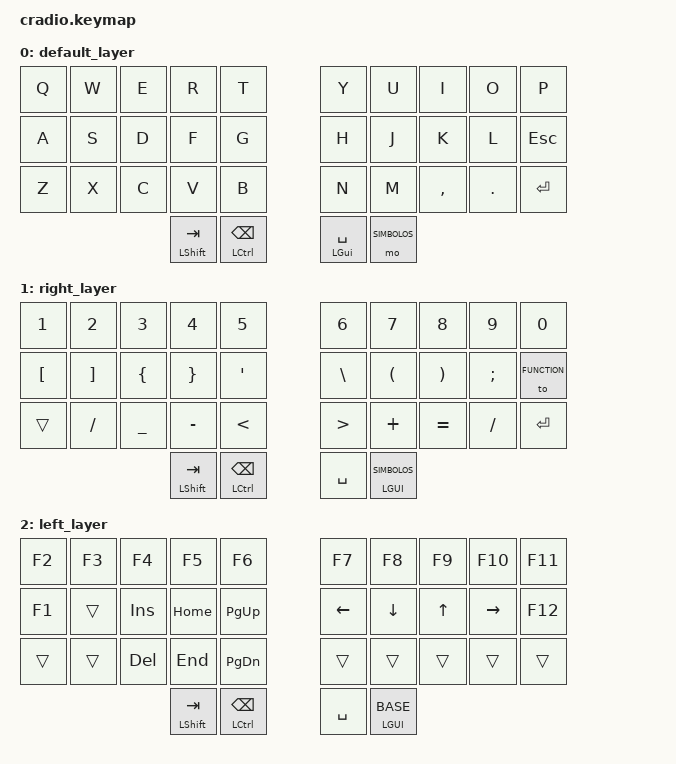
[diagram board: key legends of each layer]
// Copyright (c) 2022 The ZMK Contributors
// SPDX-License-Identifier: MIT

#include <behaviors.dtsi>
#include <dt-bindings/zmk/keys.h>
#include <dt-bindings/zmk/bt.h>

// Home row mods macro

#define BASE 0
#define SIMBOLOS 1
#define FUNCTION 2

/ {
    behaviors {
        ht: hold_tap {
            compatible = "zmk,behavior-hold-tap";
            #binding-cells = <2>;
            flavor = "tap-preferred";
            tapping-term-ms = <220>;
            quick-tap-ms = <150>;
            require-prior-idle-ms = <100>;
            bindings = <&kp>, <&kp>;
        };
    };

    conditional_layers {
        compatible = "zmk,conditional-layers";
        tri_layer {
            if-layers = <1 2>;
            then-layer = <3>;
        };
    };

    keymap {
        compatible = "zmk,keymap";
        default_layer {
            bindings = <
        //╭──────────┬──────────┬──────────┬──────────┬──────────╮   ╭──────────┬──────────┬──────────┬──────────┬──────────╮
        //│  Q       │  W       │  E       │  R       │  T       │   │  Y       │  U       │  I       │  O       │  P       │
            &kp Q      &kp W      &kp E      &kp R      &kp T          &kp Y      &kp U      &kp I      &kp O      &kp P
        //├──────────┼──────────┼──────────┼──────────┼──────────┤   ├──────────┼──────────┼──────────┼──────────┼──────────┤
        //│  A       │  S       │  D       │  F       │  G       │   │  H       │  J       │  K       │  L       │ ' "      │
            &kp A      &kp S      &kp D      &kp F      &kp G          &kp H      &kp J      &kp K      &kp L      &kp ESC
        //├──────────┼──────────┼──────────┼──────────┼──────────┤   ├──────────┼──────────┼──────────┼──────────┼──────────┤
        //│  Z       │  X       │  C       │  V       │  B       │   │  N       │  M       │ , <      │ . >      │ / ?      │
            &kp Z      &kp X      &kp C      &kp V      &kp B          &kp N      &kp M      &kp COMMA  &kp DOT    &kp ENTER
        //╰──────────┴──────────┴──────────┼──────────┼──────────┤   ├──────────┼──────────┼──────────┴──────────┴──────────╯
                                    &mt LSHIFT TAB   &mt LCTRL BSPC  &mt LGUI SPACE &mo SIMBOLOS
        //                                 ╰──────────┴──────────╯   ╰──────────┴──────────╯
            >;
        };

        right_layer {
            bindings = <
        //╭──────────┬──────────┬──────────┬──────────┬──────────╮   ╭──────────┬──────────┬──────────┬──────────┬──────────╮
        //│ INSERT   │  1       │  2       │  3       │          │   │ HOME     │ PAGE DN  │ PAGE UP  │ END      │  :       │
            &kp N1     &kp N2     &kp N3     &kp N4     &kp N5         &kp N6     &kp N7     &kp N8     &kp N9    &kp N0
        //├──────────┼──────────┼──────────┼──────────┼──────────┤   ├──────────┼──────────┼──────────┼──────────┼──────────┤
        //│ DELETE   │  4       │  5       │  6       │          │   │ LEFT     │ DOWN     │ UP       │ RIGHT    │  ;       │
            &kp LBKT   &kp RBKT   &kp LBRC   &kp RBRC   &kp SQT        &kp BSLH   &kp LPAR   &kp RPAR   &kp SEMI   &to FUNCTION
        //├──────────┼──────────┼──────────┼──────────┼──────────┤   ├──────────┼──────────┼──────────┼──────────┼──────────┤
        //│ CAPS     │  7       │  8       │  9       │  0       │   │          │          │          │          │          │
            &trans     &kp FSLH   &kp UNDERSCORE &kp MINUS &kp LT      &kp GT     &kp PLUS   &kp EQUAL  &kp FSLH   &kp ENTER
        //╰──────────┴──────────┴──────────┼──────────┼──────────┤   ├──────────┼──────────┼──────────┴──────────┴──────────╯
                                    &mt LSHIFT TAB   &mt LCTRL BSPC    &kp SPACE  &lt LGUI SIMBOLOS
        //                                 ╰──────────┴──────────╯   ╰──────────┴──────────╯
            >;
        };

        left_layer {
            bindings = <
        //╭──────────┬──────────┬──────────┬──────────┬──────────╮   ╭──────────┬──────────┬──────────┬──────────┬──────────╮
        //│          │  [       │  {       │  }       │          │   │  ^       │  (       │  )       │  ]       │  ~       │
            &kp F2     &kp F3     &kp F4     &kp F5     &kp F6         &kp F7     &kp F8     &kp F9     &kp F10    &kp F11 
        //├──────────┼──────────┼──────────┼──────────┼──────────┤   ├──────────┼──────────┼──────────┼──────────┼──────────┤
        //│  !       │  @       │  #       │  $       │  %       │   │  *       │  -       │  =       │  \       │  `       │
            &kp F1     &trans     &kp INS    &kp HOME   &kp PG_UP      &kp LEFT   &kp DOWN   &kp UP     &kp RIGHT  &kp F12
        //├──────────┼──────────┼──────────┼──────────┼──────────┤   ├──────────┼──────────┼──────────┼──────────┼──────────┤
        //│          │          │          │          │          │   │  &       │  _       │  +       │  │       │          │
            &trans     &trans     &kp DEL    &kp END    &kp PG_DN      &trans     &trans     &trans     &trans     &trans
        //╰──────────┴──────────┴──────────┼──────────┼──────────┤   ├──────────┼──────────┼──────────┴──────────┴──────────╯
                                    &mt LSHIFT TAB   &mt LCTRL BSPC    &kp SPACE  &lt LGUI BASE
        //                                 ╰──────────┴──────────╯   ╰──────────┴──────────╯
            >;
        };
    };
};
